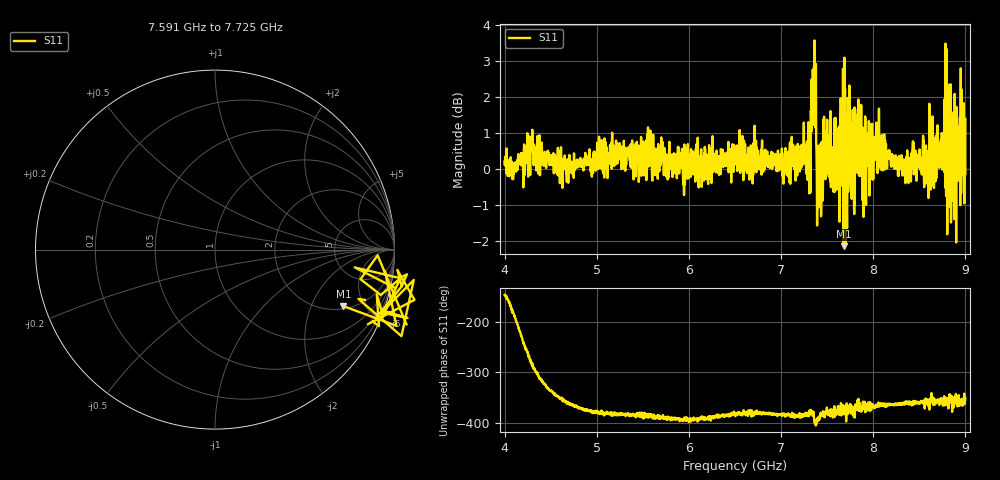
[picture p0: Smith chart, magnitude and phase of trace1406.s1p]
! Created with skrf 1.8.0 (http://scikit-rf.org).
# Hz S RI R 50.0
!freq ReS11 ImS11
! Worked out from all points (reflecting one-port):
!   1601 points, 4 GHz to 9 GHz, reference 50 ohm
!   lowest |S11| = -2.1 dB at 7.678 GHz (marker M1), VSWR 8.14, Z = 108 - j175 ohm
!   phase of S11 starts at -147 deg and turns -206 deg over the sweep
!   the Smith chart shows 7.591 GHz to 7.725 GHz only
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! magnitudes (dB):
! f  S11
! 4 GHz  0.2
! 4.106 GHz  0.1
! 4.309 GHz  0.5
! 4.625 GHz  -0.3
! 5.25 GHz  0.5
! 5.875 GHz  0.0
! 6.5 GHz  0.3
! 7.125 GHz  0.3
! 7.294 GHz  0.3
! 7.353 GHz  1.8
! 7.412 GHz  -0.3
! 7.481 GHz  -0.3
! 7.612 GHz  0.1
! 7.659 GHz  0.2
! 7.669 GHz  1.6
! 7.678 GHz  -2.1
! 7.75 GHz  -0.1
! 7.775 GHz  0.8
! 7.844 GHz  1.4
! 7.875 GHz  0.0
! 8.05 GHz  0.9
! 8.375 GHz  -0.1
! 8.441 GHz  -0.2
! 8.575 GHz  -0.2
! 8.775 GHz  1.9
! 8.856 GHz  0.1
! 8.959 GHz  2.2
! 9 GHz  -0.1
